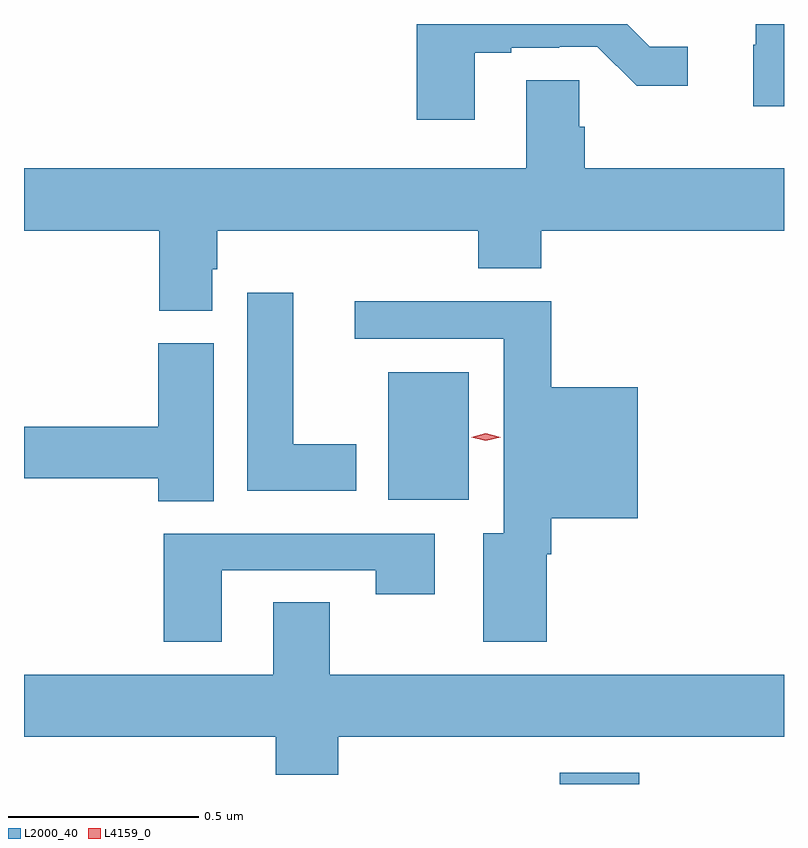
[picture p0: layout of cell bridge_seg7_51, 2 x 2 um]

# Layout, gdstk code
import gdstk
lib = gdstk.Library(unit=1e-6, precision=1e-09)
def R(c, l, rs):  # rectangles x0, y0, x1, y1
    for r in rs: c.add(gdstk.rectangle(r[:2], r[2:], *l))
def P(c, l, *ps):  # polygons
    for p in ps: c.add(gdstk.Polygon(p, *l))
L2000_40 = (2000, 40)
L4159_0 = (4159, 0)

bridge_seg7_51 = lib.new_cell('bridge_seg7_51')
R(bridge_seg7_51, L2000_40, [(958.281,1019.14,958.49,1019.169), (957.83,1019.888,958.042,1020.223)])
P(bridge_seg7_51, L2000_40, [(958.871,1021.14),(958.796,1021.14),(958.796,1021.086),(958.79,1021.086),(958.79,1020.924),(958.871,1020.924)],
  [(958.057,1021.065),(958.153,1021.065),(958.153,1021.077),(958.28,1021.077),(958.28,1021.08),(958.38,1021.08),(958.483,1020.978),(958.618,1020.978),(958.618,1021.08),(958.518,1021.08),(958.458,1021.14),(957.905,1021.14),(957.905,1020.888),(958.057,1020.888)],
  [(958.193,1020.76),(956.871,1020.76),(956.871,1020.596),(957.227,1020.596),(957.227,1020.385),(957.367,1020.385),(957.367,1020.495),(957.38,1020.495),(957.38,1020.596),(958.067,1020.596),(958.067,1020.497),(958.232,1020.497),(958.232,1020.596),(958.871,1020.596),(958.871,1020.76),(958.346,1020.76),(958.346,1020.87),(958.332,1020.87),(958.332,1020.992),(958.193,1020.992)],
  [(957.745,1020.034),(957.58,1020.034),(957.58,1020.433),(957.458,1020.433),(957.458,1019.912),(957.745,1019.912)],
  [(958.246,1019.744),(958.259,1019.744),(958.259,1019.84),(958.486,1019.84),(958.486,1020.184),(958.259,1020.184),(958.259,1020.41),(957.741,1020.41),(957.741,1020.312),(958.133,1020.312),(958.133,1019.8),(958.079,1019.8),(958.079,1019.514),(958.246,1019.514)],
  [(957.37,1020.3),(957.224,1020.3),(957.224,1020.08),(956.871,1020.08),(956.871,1019.944),(957.224,1019.944),(957.224,1019.884),(957.37,1019.884)],
  [(957.391,1019.703),(957.796,1019.703),(957.796,1019.64),(957.952,1019.64),(957.952,1019.799),(957.239,1019.799),(957.239,1019.514),(957.391,1019.514)],
  [(957.698,1019.264),(958.871,1019.264),(958.871,1019.428),(957.675,1019.428),(957.675,1019.618),(957.527,1019.618),(957.527,1019.428),(956.871,1019.428),(956.871,1019.264),(957.533,1019.264),(957.533,1019.165),(957.698,1019.165)])
P(bridge_seg7_51, L4159_0, [(958.086,1020.043),(958.048,1020.053),(958.048,1020.053),(958.048,1020.053),(958.086,1020.063),(958.125,1020.053),(958.125,1020.053),(958.125,1020.053)])

lib.write_gds('bridge_seg7_51.gds')
